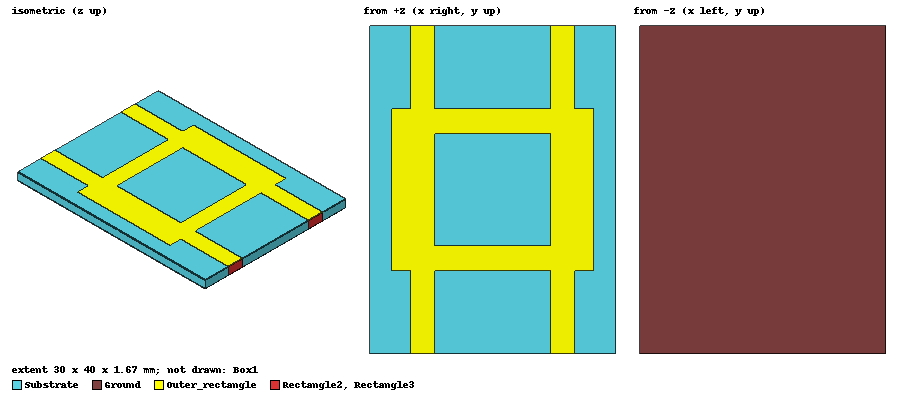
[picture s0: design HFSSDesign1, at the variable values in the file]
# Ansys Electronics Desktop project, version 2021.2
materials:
  vacuum: permittivity=1
  FR4_epoxy: permittivity=4.4 dielectric_loss_tangent=0.02
  copper: permeability=0.999991 conductivity=58000000

design HFSSDesign1 (HFSS, DrivenModal, model units mm)
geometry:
  Substrate [FR4_epoxy] = box(corner=(-15mm, -20mm, 0mm), size=(30mm, 40mm, 1.6mm))
  Ground [copper] = box(corner=(-15mm, -20mm, 0mm), size=(30mm, 40mm, -0.035mm))
  Outer_rectangle [copper] = box(corner=((-24.7/2) mm, (-19.7/2) mm, 1.6mm), size=(24.7mm, 19.7mm, 0.035mm))
  Outer_rectangle1 = box(corner=((-14.1/2) mm, (-13.7/2) mm, 1.6mm), size=(14.1mm, 13.7mm, 0.035mm))
  Outer_rectangle.subtract(Outer_rectangle1)
  Feedline_1 = box(corner=((-14.1/2) mm, -20mm, 1.6mm), size=(-3mm, 10.15mm, 0.035mm))
  Feedline_2 = box(corner=((-14.1/2) mm, 20mm, 1.6mm), size=(-3mm, -10.15mm, 0.035mm))
  Feedline_3 = box(corner=((14.1/2) mm, 20mm, 1.6mm), size=(3mm, -10.15mm, 0.035mm))
  Feedline_4 = box(corner=((14.1/2) mm, -20mm, 1.6mm), size=(3mm, 10.15mm, 0.035mm))
  Rectangle1 = rectangle(corner=(-10.05mm, -20mm, 1.635mm), z_size=-1.635mm, x_size=3mm)
  Rectangle2 = rectangle(corner=(-10.05mm, 20mm, 1.635mm), z_size=-1.635mm, x_size=3mm)
  Rectangle3 = rectangle(corner=(10.05mm, 20mm, 1.635mm), z_size=-1.635mm, x_size=-3mm)
  Rectangle4 = rectangle(corner=(10.05mm, -20mm, 1.635mm), z_size=-1.635mm, x_size=-3mm)
  Box1 [vacuum] = box(corner=(-25mm, -25mm, -25mm), size=(50mm, 50mm, 50mm))
  Outer_rectangle.unite(Feedline_4, Feedline_3, Feedline_2, Feedline_1)
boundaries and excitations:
  Rad1: Radiation Objects=Box1
  1: Lumped Port Objects=Rectangle1 Modes{Mode1{IntLine{middle of Rectangle1.edge(z opposite corner) -> middle of Rectangle1.edge(z at corner)} CharImp=Zpi RenormImp=50ohm}} Impedance=50ohm
  2: Lumped Port Objects=Rectangle2 Modes{Mode1{IntLine{middle of Rectangle2.edge(z opposite corner) -> middle of Rectangle2.edge(z at corner)} CharImp=Zpi RenormImp=50ohm}} Impedance=50ohm
  3: Lumped Port Objects=Rectangle3 Modes{Mode1{IntLine{middle of Rectangle3.edge(z opposite corner) -> middle of Rectangle3.edge(z at corner)} CharImp=Zpi RenormImp=50ohm}} Impedance=50ohm
  4: Lumped Port Objects=Rectangle4 Modes{Mode1{IntLine{middle of Rectangle4.edge(z opposite corner) -> middle of Rectangle4.edge(z at corner)} CharImp=Zpi RenormImp=50ohm}} Impedance=50ohm
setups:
  Setup1: HfssDriven Frequency=2.4GHz MaxDeltaS=0.02 MaximumPasses=6 MinimumPasses=1 MinimumConvergedPasses=1 PercentRefinement=30 BasisOrder=1 PortAccuracy=2
    sweep Sweep: 1.2GHz to 3.6GHz step 0.006GHz; Type=Interpolating InterpTolerance=0.5 InterpMaxSolns=250 InterpUsePortImped=false PassivityErrorTolerance=0.0001
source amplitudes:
  1:1: 1W 0deg
  2:1, 3:1, 4:1: 0W 0deg
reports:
  S Parameter Plot 1: ang_deg(S(2,1)), ang_deg(S(3,1)) vs Freq on Setup1 : Sweep; markers m1 at 2.496GHz, m2 at 2.502GHz
  S Parameter Plot 2: dB(S(1,1)), dB(S(2,1)), dB(S(3,1)), dB(S(4,1)), dB(S(1,2)), dB(S(2,2)), dB(S(3,2)), dB(S(4,2)), dB(S(1,3)), dB(S(2,3)), dB(S(3,3)), dB(S(4,3)), dB(S(1,4)), dB(S(2,4)), dB(S(3,4)), dB(S(4,4)) vs Freq on Setup1 : Sweep
